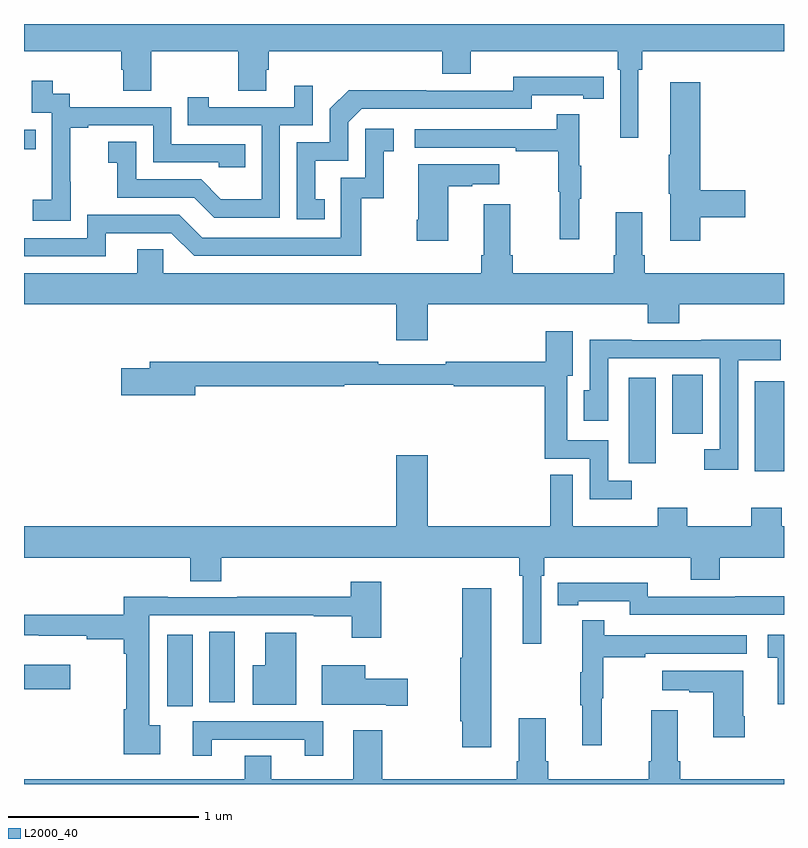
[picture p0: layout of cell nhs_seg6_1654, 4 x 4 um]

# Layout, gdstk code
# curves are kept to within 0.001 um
import gdstk
lib = gdstk.Library(unit=1e-6, precision=1e-09)
def R(c, l, rs):  # rectangles x0, y0, x1, y1
    for r in rs: c.add(gdstk.rectangle(r[:2], r[2:], *l))
def P(c, l, *ps):  # polygons
    for p in ps: c.add(gdstk.Polygon(p, *l))
L2000_40 = (2000, 40)

nhs_seg6_1654 = lib.new_cell('nhs_seg6_1654')
R(nhs_seg6_1654, L2000_40, [(211.754,923.91,211.888,924.286), (211.976,923.931,212.11,924.302), (211,923.998,211.243,924.127), (214.847,925.146,215,925.621), (214.184,925.188,214.324,925.639), (214.412,925.344,214.573,925.655), (211,926.842,211.061,926.943)])
P(nhs_seg6_1654, L2000_40, [(214.234,927.26),(214.253,927.26),(214.253,927.356),(215,927.356),(215,927.5),(211,927.5),(211,927.356),(211.511,927.356),(211.511,927.258),(211.523,927.258),(211.523,927.148),(211.671,927.148),(211.671,927.356),(212.128,927.356),(212.128,927.148),(212.275,927.148),(212.275,927.258),(212.288,927.258),(212.288,927.356),(213.2,927.356),(213.2,927.239),(213.352,927.239),(213.352,927.356),(214.124,927.356),(214.124,927.26),(214.137,927.26),(214.137,926.901),(214.234,926.901)],
  [(212.582,926.577),(212.533,926.577),(212.533,926.781),(212.706,926.781),(212.706,926.982),(212.778,927.054),(213.672,927.054),(213.672,927.126),(213.944,927.126),(213.944,927.106),(214.052,927.106),(214.052,927.222),(213.576,927.223),(213.576,927.15),(213.116,927.15),(213.116,927.152),(212.708,927.152),(212.61,927.054),(212.61,926.877),(212.436,926.877),(212.436,926.472),(212.582,926.472)],
  [(211.245,926.671),(211.244,926.671),(211.244,926.955),(211.339,926.955),(211.339,926.967),(211.68,926.967),(211.68,926.772),(212.025,926.772),(212.025,926.745),(212.165,926.745),(212.165,926.868),(211.776,926.868),(211.776,927.063),(211.242,927.063),(211.242,927.132),(211.15,927.132),(211.15,927.202),(211.041,927.202),(211.041,927.033),(211.146,927.033),(211.146,926.804),(211.145,926.804),(211.145,926.575),(211.047,926.575),(211.047,926.465),(211.245,926.465)],
  [(214.559,926.482),(214.795,926.482),(214.795,926.624),(214.559,926.624),(214.559,927.193),(214.4,927.193),(214.4,926.813),(214.393,926.813),(214.393,926.607),(214.4,926.607),(214.4,926.358),(214.559,926.358)],
  [(212.346,926.967),(212.52,926.967),(212.52,927.175),(212.423,927.175),(212.423,927.063),(211.972,927.063),(211.972,927.115),(211.861,927.115),(211.861,926.967),(212.25,926.967),(212.25,926.578),(212.036,926.578),(211.932,926.682),(211.59,926.682),(211.59,926.881),(211.443,926.881),(211.443,926.771),(211.492,926.771),(211.492,926.586),(211.895,926.586),(212,926.481),(212.346,926.481)],
  [(213.923,926.579),(213.934,926.579),(213.934,926.753),(213.923,926.753),(213.923,927.025),(213.805,927.025),(213.805,926.946),(213.057,926.946),(213.057,926.85),(213.589,926.85),(213.589,926.83),(213.813,926.83),(213.813,926.616),(213.82,926.616),(213.82,926.367),(213.923,926.367)],
  [(211.429,926.4),(211.776,926.4),(211.896,926.28),(212.776,926.28),(212.776,926.583),(212.894,926.583),(212.894,926.829),(212.947,926.829),(212.947,926.95),(212.796,926.95),(212.796,926.691),(212.667,926.691),(212.667,926.376),(211.938,926.376),(211.818,926.496),(211.332,926.496),(211.332,926.373),(211,926.373),(211,926.277),(211.429,926.277)],
  [(213.232,926.647),(213.359,926.647),(213.359,926.657),(213.502,926.657),(213.502,926.761),(213.074,926.761),(213.074,926.47),(213.067,926.47),(213.067,926.358),(213.232,926.358)],
  [(214.283,925.925),(214.448,925.925),(214.448,926.024),(215,926.024),(215,926.188),(214.268,926.188),(214.268,926.284),(214.255,926.284),(214.255,926.509),(214.115,926.509),(214.115,926.284),(214.103,926.284),(214.103,926.188),(213.572,926.188),(213.572,926.284),(213.559,926.284),(213.559,926.551),(213.419,926.551),(213.419,926.284),(213.407,926.284),(213.407,926.188),(211.734,926.188),(211.734,926.315),(211.595,926.315),(211.595,926.188),(211,926.188),(211,926.024),(212.96,926.024),(212.96,925.836),(213.124,925.836),(213.124,926.024),(214.283,926.024)],
  [(214.198,925.095),(214.074,925.095),(214.074,925.308),(213.859,925.308),(213.859,925.649),(213.889,925.649),(213.889,925.882),(213.746,925.882),(213.746,925.723),(213.22,925.723),(213.22,925.71),(212.864,925.71),(212.864,925.723),(211.661,925.723),(211.661,925.689),(211.512,925.689),(211.512,925.547),(211.9,925.547),(211.9,925.594),(212.685,925.594),(212.685,925.602),(213.262,925.602),(213.262,925.594),(213.741,925.594),(213.741,925.212),(213.978,925.212),(213.978,924.998),(214.198,924.998)],
  [(214.758,925.73),(214.984,925.73),(214.984,925.838),(214.565,925.838),(214.565,925.836),(214.199,925.836),(214.199,925.838),(213.978,925.838),(213.978,925.572),(213.947,925.572),(213.947,925.413),(214.074,925.413),(214.074,925.74),(214.662,925.74),(214.662,925.263),(214.581,925.263),(214.581,925.155),(214.758,925.155)],
  [(213.723,924.596),(213.737,924.596),(213.737,924.692),(214.508,924.692),(214.508,924.575),(214.661,924.575),(214.661,924.692),(215,924.692),(215,924.856),(214.988,924.856),(214.988,924.955),(214.828,924.955),(214.828,924.856),(214.491,924.856),(214.491,924.955),(214.336,924.955),(214.336,924.856),(213.889,924.856),(213.889,925.127),(213.771,925.127),(213.771,924.856),(213.124,924.856),(213.124,925.231),(212.96,925.231),(212.96,924.856),(211,924.856),(211,924.692),(211.874,924.692),(211.874,924.568),(212.039,924.568),(212.039,924.692),(213.607,924.692),(213.607,924.596),(213.626,924.596),(213.626,924.237),(213.723,924.237)],
  [(211.717,923.81),(211.66,923.81),(211.66,924.387),(212.524,924.387),(212.524,924.382),(212.725,924.382),(212.725,924.27),(212.88,924.27),(212.88,924.565),(212.72,924.565),(212.72,924.485),(212.122,924.485),(212.122,924.483),(211.756,924.483),(211.756,924.485),(211.526,924.485),(211.526,924.391),(211,924.391),(211,924.282),(211.078,924.282),(211.078,924.281),(211.33,924.281),(211.33,924.262),(211.526,924.262),(211.526,924.185),(211.538,924.185),(211.538,923.893),(211.526,923.893),(211.526,923.657),(211.717,923.657)],
  [(215,924.488),(214.744,924.488),(214.744,924.486),(214.284,924.486),(214.284,924.559),(213.916,924.559),(213.916,924.558),(213.808,924.558),(213.808,924.442),(213.916,924.442),(213.916,924.462),(214.188,924.462),(214.188,924.39),(215,924.39)],
  [(213.46,924.529),(213.307,924.529),(213.307,924.165),(213.296,924.165),(213.296,923.829),(213.307,923.829),(213.307,923.694),(213.46,923.694)],
  [(214.04,923.952),(214.048,923.952),(214.048,924.166),(214.271,924.166),(214.271,924.186),(214.804,924.186),(214.804,924.282),(214.055,924.282),(214.055,924.361),(213.938,924.361),(213.938,924.089),(213.927,924.089),(213.927,923.915),(213.938,923.915),(213.938,923.703),(214.04,923.703)],
  [(212.434,924.295),(212.27,924.295),(212.27,924.124),(212.204,924.124),(212.204,923.918),(212.434,923.918)],
  [(215,924.286),(214.914,924.286),(214.914,924.165),(214.967,924.165),(214.967,923.919),(215,923.919)],
  [(213.019,924.053),(212.797,924.053),(212.797,924.124),(212.567,924.124),(212.567,923.918),(212.906,923.918),(212.906,923.911),(213.019,923.911)],
  [(214.794,923.857),(214.786,923.857),(214.786,924.097),(214.359,924.097),(214.359,923.993),(214.502,923.993),(214.502,923.983),(214.628,923.983),(214.628,923.745),(214.794,923.745)],
  [(215,923.524),(214.454,923.524),(214.454,923.62),(214.441,923.62),(214.441,923.887),(214.301,923.887),(214.301,923.62),(214.289,923.62),(214.289,923.524),(213.758,923.524),(213.758,923.62),(213.745,923.62),(213.745,923.845),(213.605,923.845),(213.605,923.62),(213.593,923.62),(213.593,923.524),(212.885,923.524),(212.885,923.782),(212.732,923.782),(212.732,923.524),(212.302,923.524),(212.302,923.648),(212.162,923.648),(212.162,923.524),(211,923.524),(211,923.5),(215,923.5)],
  [(211.987,923.733),(212.477,923.733),(212.477,923.649),(212.575,923.649),(212.575,923.829),(211.889,923.829),(211.889,923.649),(211.987,923.649)])

lib.write_gds('nhs_seg6_1654.gds')
